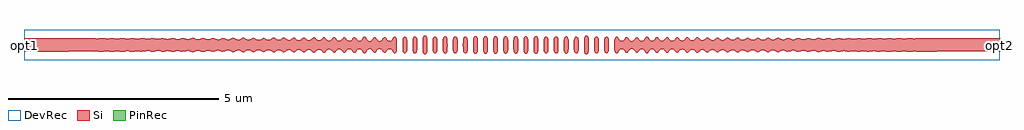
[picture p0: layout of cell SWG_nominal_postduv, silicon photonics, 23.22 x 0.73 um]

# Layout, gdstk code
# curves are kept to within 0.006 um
import gdstk
lib = gdstk.Library(unit=1e-6, precision=1e-09)
def P(c, l, *ps):  # polygons
    for p in ps: c.add(gdstk.Polygon(p, *l))
Si = (1, 0)
PinRec = (1, 10)
DevRec = (68, 0)

swg_nominal_postduv = lib.new_cell('SWG_nominal_postduv')
P(swg_nominal_postduv, Si, [(8.087,-0.196),(8.065,-0.188),(8.011,-0.108),(7.969,-0.096),(7.931,-0.104),(7.878,-0.173),(7.853,-0.186),(7.822,-0.173),(7.784,-0.119),(7.744,-0.099),(7.694,-0.106),(7.636,-0.172),(7.608,-0.183),(7.584,-0.172),(7.543,-0.119),(7.506,-0.102),(7.456,-0.107),(7.431,-0.124),(7.397,-0.169),(7.374,-0.18),(7.346,-0.171),(7.295,-0.117),(7.255,-0.107),(7.206,-0.117),(7.151,-0.174),(7.129,-0.181),(7.108,-0.174),(7.052,-0.12),(7.028,-0.111),(6.98,-0.116),(6.955,-0.129),(6.915,-0.172),(6.884,-0.182),(6.825,-0.132),(6.778,-0.115),(6.73,-0.122),(6.651,-0.177),(6.629,-0.17),(6.574,-0.126),(6.526,-0.116),(6.481,-0.127),(6.417,-0.172),(6.395,-0.169),(6.323,-0.122),(6.276,-0.119),(6.253,-0.124),(6.172,-0.175),(6.072,-0.122),(6.015,-0.127),(5.95,-0.171),(5.928,-0.176),(5.823,-0.121),(5.777,-0.123),(5.693,-0.167),(5.617,-0.129),(5.571,-0.119),(5.527,-0.128),(5.449,-0.168),(5.367,-0.128),(5.31,-0.124),(5.214,-0.171),(5.139,-0.136),(5.094,-0.126),(5.05,-0.132),(4.97,-0.17),(4.889,-0.134),(4.845,-0.126),(4.736,-0.166),(4.616,-0.128),(4.574,-0.133),(4.491,-0.164),(4.367,-0.131),(4.258,-0.165),(4.138,-0.135),(4.086,-0.142),(4.013,-0.167),(3.89,-0.138),(3.78,-0.165),(3.662,-0.14),(3.535,-0.162),(3.413,-0.141),(3.303,-0.159),(3.163,-0.143),(3.057,-0.161),(2.934,-0.146),(2.824,-0.163),(2.706,-0.148),(2.579,-0.161),(2.427,-0.149),(2.331,-0.16),(2.208,-0.15),(2.084,-0.16),(1.95,-0.152),(1.87,-0.16),(1.711,-0.154),(1.606,-0.161),(1.463,-0.155),(0,-0.162),(0,0.162),(1.463,0.155),(1.606,0.161),(1.711,0.154),(1.87,0.16),(1.959,0.152),(2.084,0.16),(2.208,0.15),(2.332,0.16),(2.437,0.149),(2.579,0.161),(2.706,0.148),(2.824,0.163),(2.914,0.146),(3.056,0.161),(3.163,0.143),(3.302,0.16),(3.392,0.141),(3.535,0.162),(3.662,0.14),(3.767,0.165),(3.891,0.138),(4.013,0.167),(4.096,0.139),(4.138,0.135),(4.258,0.165),(4.367,0.131),(4.491,0.164),(4.574,0.133),(4.616,0.128),(4.736,0.165),(4.845,0.126),(4.878,0.13),(4.97,0.17),(5.05,0.132),(5.094,0.126),(5.139,0.136),(5.214,0.171),(5.322,0.122),(5.367,0.128),(5.449,0.168),(5.527,0.128),(5.571,0.119),(5.617,0.128),(5.67,0.162),(5.693,0.167),(5.777,0.123),(5.827,0.121),(5.928,0.176),(5.95,0.17),(6.003,0.131),(6.066,0.121),(6.172,0.175),(6.231,0.136),(6.276,0.119),(6.332,0.126),(6.395,0.169),(6.417,0.172),(6.481,0.128),(6.526,0.116),(6.574,0.126),(6.651,0.177),(6.729,0.123),(6.777,0.115),(6.825,0.132),(6.871,0.177),(6.895,0.182),(6.962,0.124),(7.028,0.111),(7.06,0.124),(7.097,0.164),(7.129,0.181),(7.151,0.174),(7.205,0.118),(7.23,0.107),(7.266,0.107),(7.307,0.126),(7.353,0.176),(7.374,0.18),(7.397,0.169),(7.456,0.107),(7.506,0.101),(7.552,0.128),(7.59,0.177),(7.614,0.183),(7.642,0.165),(7.681,0.113),(7.707,0.099),(7.757,0.099),(7.784,0.117),(7.82,0.171),(7.853,0.186),(7.885,0.166),(7.926,0.108),(7.956,0.095),(8.011,0.107),(8.065,0.187),(8.093,0.196),(8.12,0.181),(8.155,0.121),(8.182,0.099),(8.234,0.095),(8.261,0.111),(8.303,0.169),(8.332,0.181),(8.354,0.172),(8.403,0.109),(8.447,0.093),(8.498,0.109),(8.544,0.175),(8.566,0.185),(8.592,0.178),(8.644,0.109),(8.661,0.099),(8.713,0.095),(8.741,0.116),(8.777,0.178),(8.81,0.195),(8.845,0.173),(8.863,0.124),(8.863,-0.117),(8.858,-0.148),(8.833,-0.187),(8.81,-0.195),(8.787,-0.189),(8.746,-0.123),(8.716,-0.098),(8.664,-0.097),(8.634,-0.119),(8.598,-0.173),(8.566,-0.185),(8.543,-0.173),(8.486,-0.101),(8.423,-0.098),(8.388,-0.122),(8.354,-0.172),(8.326,-0.181),(8.298,-0.164),(8.261,-0.112),(8.221,-0.095),(8.189,-0.097),(8.169,-0.109),(8.113,-0.189)],
  [(14.806,-0.196),(14.782,-0.185),(14.742,-0.118),(14.715,-0.098),(14.687,-0.096),(14.648,-0.106),(14.594,-0.172),(14.567,-0.181),(14.546,-0.172),(14.487,-0.101),(14.437,-0.094),(14.41,-0.102),(14.355,-0.176),(14.334,-0.185),(14.302,-0.173),(14.263,-0.116),(14.236,-0.097),(14.187,-0.097),(14.157,-0.119),(14.113,-0.189),(14.089,-0.195),(14.066,-0.186),(14.038,-0.126),(14.036,0.117),(14.054,0.171),(14.089,0.195),(14.121,0.18),(14.157,0.118),(14.184,0.096),(14.236,0.096),(14.263,0.115),(14.308,0.178),(14.333,0.185),(14.355,0.176),(14.403,0.109),(14.436,0.094),(14.488,0.101),(14.539,0.164),(14.567,0.181),(14.602,0.165),(14.636,0.114),(14.663,0.096),(14.714,0.096),(14.742,0.117),(14.784,0.186),(14.812,0.196),(14.834,0.188),(14.876,0.121),(14.913,0.096),(14.965,0.102),(15.023,0.175),(15.046,0.186),(15.079,0.173),(15.128,0.108),(15.19,0.098),(15.226,0.12),(15.27,0.177),(15.29,0.184),(15.318,0.171),(15.366,0.113),(15.392,0.102),(15.44,0.105),(15.525,0.18),(15.558,0.168),(15.593,0.125),(15.643,0.107),(15.692,0.116),(15.747,0.172),(15.769,0.181),(15.791,0.174),(15.831,0.132),(15.87,0.112),(15.918,0.114),(15.992,0.177),(16.014,0.182),(16.096,0.12),(16.143,0.115),(16.19,0.134),(16.248,0.177),(16.27,0.171),(16.324,0.127),(16.369,0.116),(16.417,0.126),(16.492,0.173),(16.575,0.124),(16.621,0.118),(16.656,0.129),(16.726,0.175),(16.749,0.17),(16.802,0.131),(16.836,0.121),(16.894,0.13),(16.949,0.17),(16.971,0.176),(17.073,0.121),(17.12,0.122),(17.216,0.167),(17.281,0.131),(17.325,0.119),(17.371,0.127),(17.45,0.168),(17.531,0.128),(17.587,0.123),(17.695,0.171),(17.802,0.126),(17.848,0.131),(17.929,0.17),(18.009,0.134),(18.052,0.126),(18.174,0.166),(18.28,0.129),(18.324,0.132),(18.407,0.164),(18.53,0.131),(18.64,0.165),(18.78,0.135),(18.886,0.168),(19.006,0.138),(19.139,0.165),(19.236,0.14),(19.364,0.161),(19.506,0.141),(19.595,0.16),(19.745,0.143),(19.842,0.161),(19.984,0.146),(20.073,0.163),(20.192,0.148),(20.336,0.161),(20.47,0.149),(20.567,0.16),(20.69,0.15),(20.814,0.16),(20.939,0.152),(21.028,0.16),(21.187,0.154),(21.292,0.161),(21.434,0.155),(23.2,0.162),(23.2,-0.162),(21.434,-0.155),(21.292,-0.161),(21.187,-0.154),(21.028,-0.16),(20.939,-0.152),(20.814,-0.16),(20.69,-0.15),(20.558,-0.16),(20.461,-0.149),(20.311,-0.161),(20.194,-0.148),(20.073,-0.163),(19.984,-0.146),(19.842,-0.161),(19.735,-0.143),(19.595,-0.159),(19.506,-0.141),(19.364,-0.161),(19.236,-0.14),(19.125,-0.165),(19.007,-0.138),(18.886,-0.168),(18.78,-0.135),(18.647,-0.166),(18.53,-0.131),(18.407,-0.164),(18.324,-0.132),(18.28,-0.129),(18.168,-0.166),(18.086,-0.131),(18.052,-0.126),(18.009,-0.134),(17.929,-0.17),(17.848,-0.131),(17.802,-0.126),(17.689,-0.171),(17.599,-0.126),(17.542,-0.125),(17.45,-0.168),(17.371,-0.127),(17.325,-0.119),(17.281,-0.13),(17.205,-0.167),(17.12,-0.122),(17.074,-0.122),(16.971,-0.177),(16.871,-0.122),(16.814,-0.127),(16.749,-0.17),(16.726,-0.175),(16.667,-0.134),(16.621,-0.118),(16.575,-0.123),(16.492,-0.172),(16.474,-0.169),(16.417,-0.126),(16.369,-0.116),(16.324,-0.127),(16.27,-0.171),(16.248,-0.177),(16.19,-0.134),(16.144,-0.114),(16.096,-0.12),(16.014,-0.182),(15.985,-0.172),(15.942,-0.127),(15.893,-0.112),(15.845,-0.122),(15.795,-0.171),(15.769,-0.181),(15.747,-0.172),(15.691,-0.115),(15.667,-0.106),(15.618,-0.109),(15.554,-0.172),(15.525,-0.18),(15.507,-0.172),(15.441,-0.105),(15.392,-0.102),(15.358,-0.119),(15.312,-0.176),(15.29,-0.183),(15.269,-0.177),(15.217,-0.112),(15.166,-0.099),(15.126,-0.111),(15.079,-0.173),(15.046,-0.186),(15.023,-0.175),(14.964,-0.101),(14.93,-0.096),(14.885,-0.111),(14.84,-0.182)],
  [(9.045,-0.195),(9.009,-0.164),(8.995,-0.117),(8.995,0.116),(9.021,0.181),(9.055,0.194),(9.091,0.164),(9.104,0.124),(9.105,-0.117),(9.083,-0.175),(9.071,-0.189)],
  [(9.289,-0.2),(9.266,-0.19),(9.241,-0.149),(9.234,-0.013),(9.241,0.15),(9.258,0.182),(9.289,0.2),(9.311,0.193),(9.337,0.155),(9.346,0.056),(9.339,-0.149),(9.315,-0.19)],
  [(9.523,-0.223),(9.497,-0.204),(9.477,-0.152),(9.475,0.142),(9.495,0.202),(9.513,0.219),(9.534,0.223),(9.565,0.202),(9.584,0.149),(9.584,-0.149),(9.559,-0.21)],
  [(9.768,-0.199),(9.747,-0.19),(9.726,-0.162),(9.714,-0.049),(9.72,0.144),(9.739,0.181),(9.768,0.199),(9.801,0.181),(9.821,0.139),(9.826,0.02),(9.822,-0.133),(9.793,-0.19)],
  [(10.01,-0.203),(9.98,-0.188),(9.96,-0.149),(9.954,0.029),(9.962,0.155),(9.988,0.196),(10.013,0.204),(10.048,0.178),(10.062,0.141),(10.066,-0.031),(10.056,-0.163),(10.037,-0.191)],
  [(10.247,-0.202),(10.224,-0.191),(10.2,-0.149),(10.194,0.029),(10.202,0.154),(10.23,0.196),(10.252,0.202),(10.28,0.186),(10.302,0.139),(10.306,-0.031),(10.3,-0.148),(10.276,-0.191)],
  [(10.492,-0.201),(10.465,-0.19),(10.44,-0.149),(10.434,-0.031),(10.44,0.147),(10.464,0.189),(10.492,0.201),(10.513,0.192),(10.538,0.155),(10.546,0.038),(10.543,-0.134),(10.527,-0.177)],
  [(10.726,-0.21),(10.698,-0.193),(10.676,-0.138),(10.676,0.138),(10.704,0.2),(10.737,0.21),(10.768,0.184),(10.784,0.141),(10.785,-0.135),(10.759,-0.197)],
  [(10.971,-0.208),(10.94,-0.192),(10.919,-0.15),(10.914,-0.031),(10.921,0.156),(10.937,0.189),(10.971,0.208),(10.995,0.197),(11.019,0.158),(11.026,0.038),(11.024,-0.135),(11,-0.192)],
  [(11.205,-0.207),(11.169,-0.177),(11.156,-0.135),(11.155,0.118),(11.174,0.184),(11.194,0.204),(11.215,0.207),(11.242,0.19),(11.263,0.141),(11.265,-0.103),(11.251,-0.177),(11.225,-0.205)],
  [(11.449,-0.208),(11.42,-0.192),(11.401,-0.158),(11.394,-0.031),(11.401,0.157),(11.425,0.197),(11.449,0.208),(11.475,0.197),(11.497,0.163),(11.506,0.038),(11.504,-0.134),(11.483,-0.188)],
  [(11.683,-0.207),(11.65,-0.178),(11.636,-0.135),(11.635,0.118),(11.654,0.184),(11.673,0.204),(11.694,0.207),(11.726,0.184),(11.744,0.135),(11.744,-0.136),(11.716,-0.197)],
  [(11.928,-0.208),(11.906,-0.199),(11.881,-0.157),(11.874,-0.031),(11.877,0.141),(11.899,0.191),(11.928,0.208),(11.955,0.197),(11.974,0.17),(11.983,0.14),(11.986,0.038),(11.983,-0.142),(11.96,-0.192)],
  [(12.168,-0.21),(12.152,-0.206),(12.129,-0.179),(12.116,-0.135),(12.115,0.118),(12.132,0.184),(12.151,0.205),(12.176,0.21),(12.207,0.185),(12.222,0.149),(12.226,-0.031),(12.217,-0.164),(12.202,-0.193)],
  [(12.407,-0.201),(12.385,-0.19),(12.36,-0.149),(12.354,0.038),(12.362,0.154),(12.385,0.19),(12.412,0.201),(12.447,0.176),(12.465,0.125),(12.466,-0.031),(12.46,-0.148),(12.44,-0.185)],
  [(12.652,-0.202),(12.624,-0.191),(12.605,-0.163),(12.594,-0.031),(12.599,0.147),(12.623,0.189),(12.652,0.202),(12.673,0.193),(12.698,0.155),(12.706,0.02),(12.7,-0.147),(12.676,-0.191)],
  [(12.883,-0.203),(12.851,-0.175),(12.836,-0.131),(12.835,0.125),(12.863,0.192),(12.897,0.203),(12.924,0.183),(12.945,0.125),(12.945,-0.102),(12.928,-0.178),(12.907,-0.199)],
  [(13.131,-0.199),(13.107,-0.19),(13.081,-0.148),(13.074,-0.031),(13.079,0.139),(13.099,0.182),(13.131,0.199),(13.165,0.177),(13.179,0.15),(13.186,0.056),(13.179,-0.15),(13.16,-0.183)],
  [(13.364,-0.223),(13.336,-0.203),(13.317,-0.152),(13.315,0.142),(13.342,0.212),(13.375,0.223),(13.405,0.202),(13.422,0.158),(13.425,-0.119),(13.42,-0.166),(13.404,-0.203),(13.386,-0.22)],
  [(13.609,-0.2),(13.585,-0.19),(13.56,-0.149),(13.554,-0.048),(13.562,0.155),(13.577,0.182),(13.609,0.2),(13.643,0.181),(13.657,0.154),(13.666,0.02),(13.659,-0.148),(13.635,-0.19)],
  [(13.849,-0.195),(13.829,-0.189),(13.812,-0.168),(13.795,-0.117),(13.795,0.116),(13.811,0.168),(13.832,0.19),(13.854,0.195),(13.889,0.167),(13.904,0.124),(13.905,-0.118),(13.883,-0.175)])
P(swg_nominal_postduv, DevRec, [(0,-0.365),(0,0.365),(23.2,0.365),(23.2,-0.365),(9.82,-0.365)])
swg_nominal_postduv.add(gdstk.FlexPath([(0.01,0),(-0.01,0)], 0.324, ends="flush", simple_path=True, layer=1, datatype=10))  # PinRec
swg_nominal_postduv.add(gdstk.FlexPath([(23.19,0),(23.21,0)], 0.324, ends="flush", simple_path=True, layer=1, datatype=10))  # PinRec
swg_nominal_postduv.add(gdstk.Label('opt2', (23.2,0), layer=1, texttype=10))
swg_nominal_postduv.add(gdstk.Label('opt1', (0,0), layer=1, texttype=10))

lib.write_gds('SWG_nominal_postduv.gds')
